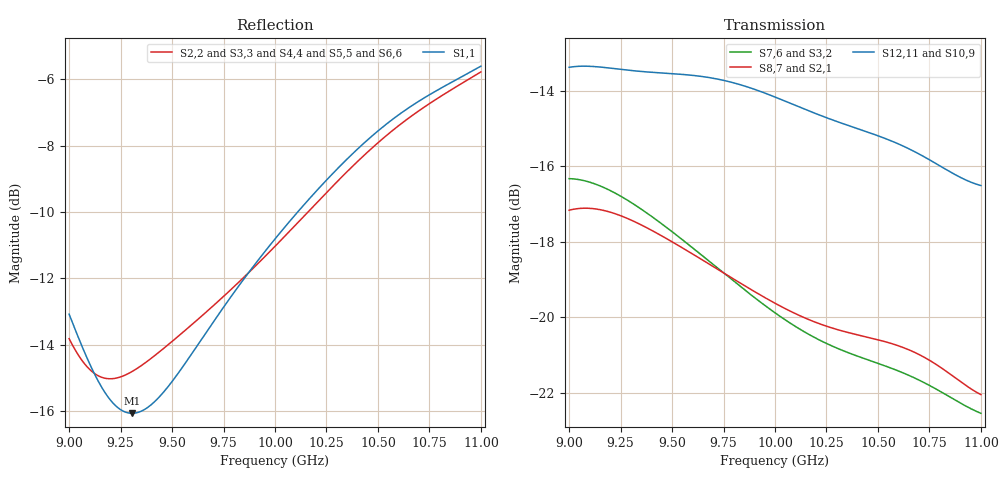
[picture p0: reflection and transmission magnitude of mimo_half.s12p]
! TOUCHSTONE file generated by CST MICROWAVE STUDIO
! Date and time: Thu Oct 22 19:03:19 2026
! Project name: mimo_half.cst
! Parameters = {gap=0.5; l_dip=13.6; r_wire=0.25; y_tx=30}
! Header version: 2024
! Port assignment regex: !\s*Touchstone port\s*([0-9]+)\s*=\s*(CST MWS port|CST DES external port|CST DES block port)\s*(.+)\s* \(\"(.*)\"\)(\s*mode\s*([0-9]+))?.*
! Touchstone port assignment:
! Touchstone port 1 = CST MWS port 1 ("rx1")
! Touchstone port 2 = CST MWS port 2 ("rx2")
! Touchstone port 3 = CST MWS port 3 ("rx3")
! Touchstone port 4 = CST MWS port 4 ("rx4")
! Touchstone port 5 = CST MWS port 5 ("rx5")
! Touchstone port 6 = CST MWS port 6 ("rx6")
! Touchstone port 7 = CST MWS port 7 ("rx7")
! Touchstone port 8 = CST MWS port 8 ("rx8")
! Touchstone port 9 = CST MWS port 9 ("tx1")
! Touchstone port 10 = CST MWS port 10 ("tx2")
! Touchstone port 11 = CST MWS port 11 ("tx3")
! Touchstone port 12 = CST MWS port 12 ("tx4")
# GHz S MA R 50
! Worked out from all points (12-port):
!   1001 points, 9 GHz to 11 GHz, reference 50 ohm
!   strongest paths, dB at 9 GHz, 9.5 GHz, 10 GHz, 10.5 GHz, 11 GHz:
!     S12,11: -13.4, -13.6, -14.2, -15.2, -16.5
!     S10,9: -13.4, -13.6, -14.2, -15.2, -16.5
!     S8,7: -17.2, -18.0, -19.6, -20.6, -22.0
!     S2,1: -17.2, -18.0, -19.6, -20.6, -22.0
!     S7,6: -16.3, -17.7, -19.9, -21.2, -22.5
!     S3,2: -16.3, -17.7, -19.9, -21.2, -22.5
!   lowest |S11| = -16.1 dB at 9.306 GHz (marker M1), VSWR 1.37, Z = 65.5 - j9.55 ohm
!   |S11| at or under -10 dB: start of sweep to 10.11 GHz
